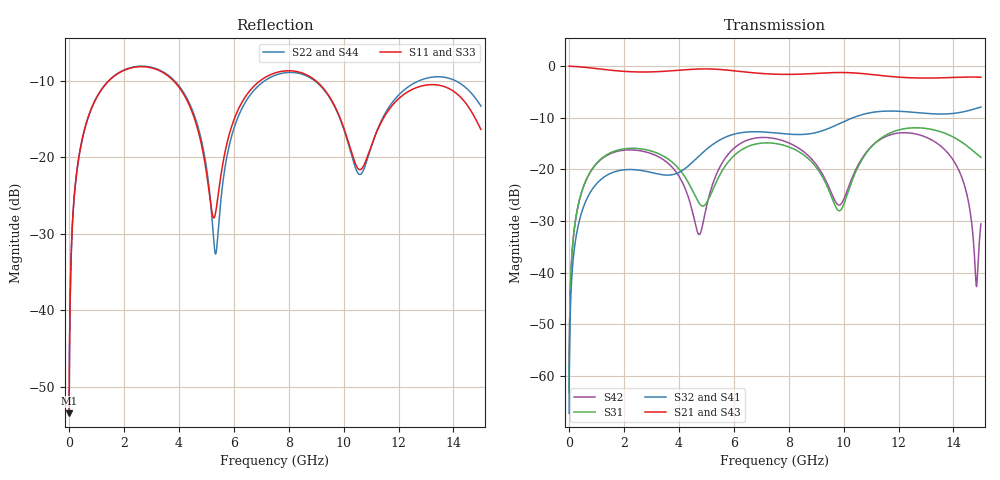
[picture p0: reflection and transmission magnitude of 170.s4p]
! Created with skrf 1.8.0 (http://scikit-rf.org).
# GHz S RI R 50.0
!freq ReS11 ImS11 ReS12 ImS12 ReS13 ImS13
! ReS14 ImS14
! ReS21 ImS21 ReS22 ImS22 ReS23 ImS23
! ReS24 ImS24
! ReS31 ImS31 ReS32 ImS32 ReS33 ImS33
! ReS34 ImS34
! ReS41 ImS41 ReS42 ImS42 ReS43 ImS43
! ReS44 ImS44
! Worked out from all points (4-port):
!   2499 points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, 5 MHz to 15 GHz, reference 50 ohm
!   strongest paths, dB at 5 MHz, 3.476 GHz, 7.19 GHz, 11.1 GHz, 15 GHz:
!     S21: 0.0, -1.0, -1.5, -1.7, -2.2
!     S43: 0.0, -1.0, -1.5, -1.7, -2.2
!     S32: -67.3, -21.1, -12.8, -8.9, -7.9
!     S41: -67.3, -21.2, -12.9, -8.9, -7.9
!     S31: -63.3, -17.5, -14.9, -15.1, -17.7
!     S42: -63.3, -18.3, -13.8, -15.2, -30.6
!   lowest |S11| = -53.5 dB at 5 MHz (marker M1), VSWR 1.00, Z = 50.2 + j0.129 ohm
!   |S11| at or under -10 dB: start of sweep to 1.45 GHz; 3.809 GHz to 6.955 GHz (3.146 GHz wide, 58.4 % of centre); 8.994 GHz to end of sweep
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0.005  0.00169 0.00128  0.9983 -0.00329  8.55e-05 0.00068  -8.29e-05 -0.000425
       0.9983 -0.00329  0.00169 0.00128  -8.29e-05 -0.000425  8.54e-05 0.00068
       8.55e-05 0.00068  -8.29e-05 -0.000425  0.00169 0.00128  0.9983 -0.00329
       -8.29e-05 -0.000425  8.54e-05 0.00068  0.9983 -0.00329  0.00169 0.00128
0.3626511  0.0318 0.096  0.956 -0.2353  0.0158 0.0455  -0.0127 -0.0279
           0.956 -0.2353  0.0319 0.0959  -0.0127 -0.0279  0.0149 0.0458
           0.0158 0.0455  -0.0127 -0.0279  0.0318 0.096  0.956 -0.2353
           -0.0127 -0.0279  0.0149 0.0458  0.956 -0.2353  0.032 0.0959
1.67  0.3004 0.1637  0.4753 -0.7689  0.144 0.0436  -0.0944 0.00606
      0.4753 -0.7689  0.3034 0.1613  -0.0946 0.00635  0.1351 0.0584
      0.144 0.0436  -0.0946 0.00635  0.3003 0.1638  0.4753 -0.7689
      -0.0944 0.00606  0.1351 0.0584  0.4753 -0.7689  0.3036 0.1612
5.164652  0.0409 -0.027  -0.9264 -0.1423  -0.0395 0.0416  -0.0249 0.1668
          -0.9264 -0.1423  0.0249 -0.0423  -0.0212 0.1673  0.0285 0.0562
          -0.0395 0.0416  -0.0212 0.1673  0.0419 -0.0281  -0.9263 -0.1425
          -0.0249 0.1668  0.0285 0.0562  -0.9263 -0.1425  0.0245 -0.0433
8.203418  0.364 -0.0398  -0.00794 0.8324  0.138 -0.0739  0.2076 -0.0572
          -0.00794 0.8324  0.3573 -0.0255  0.2076 -0.0654  0.143 -0.092
          0.138 -0.0739  0.2076 -0.0654  0.3623 -0.0386  -0.00712 0.8326
          0.2076 -0.0572  0.143 -0.092  -0.00712 0.8326  0.3582 -0.0277
10.94831  0.102 0.0439  0.8318 -0.0365  0.0556 0.1482  -0.0298 -0.3507
          0.8318 -0.0365  0.0959 0.0511  -0.0445 -0.3495  0.035 0.1558
          0.0556 0.1482  -0.0445 -0.3495  0.1023 0.0408  0.8317 -0.0383
          -0.0298 -0.3507  0.035 0.1558  0.8317 -0.0383  0.0955 0.0533
15  0.142 -0.0549  -0.5336 -0.5693  -0.0963 -0.0887  -0.2963 0.2708
    -0.5336 -0.5693  0.1778 -0.1238  -0.2774 0.29  -0.00382 0.0293
    -0.0963 -0.0887  -0.2774 0.29  0.1482 -0.0507  -0.5364 -0.5661
    -0.2963 0.2708  -0.00382 0.0293  -0.5364 -0.5661  0.1752 -0.1271
